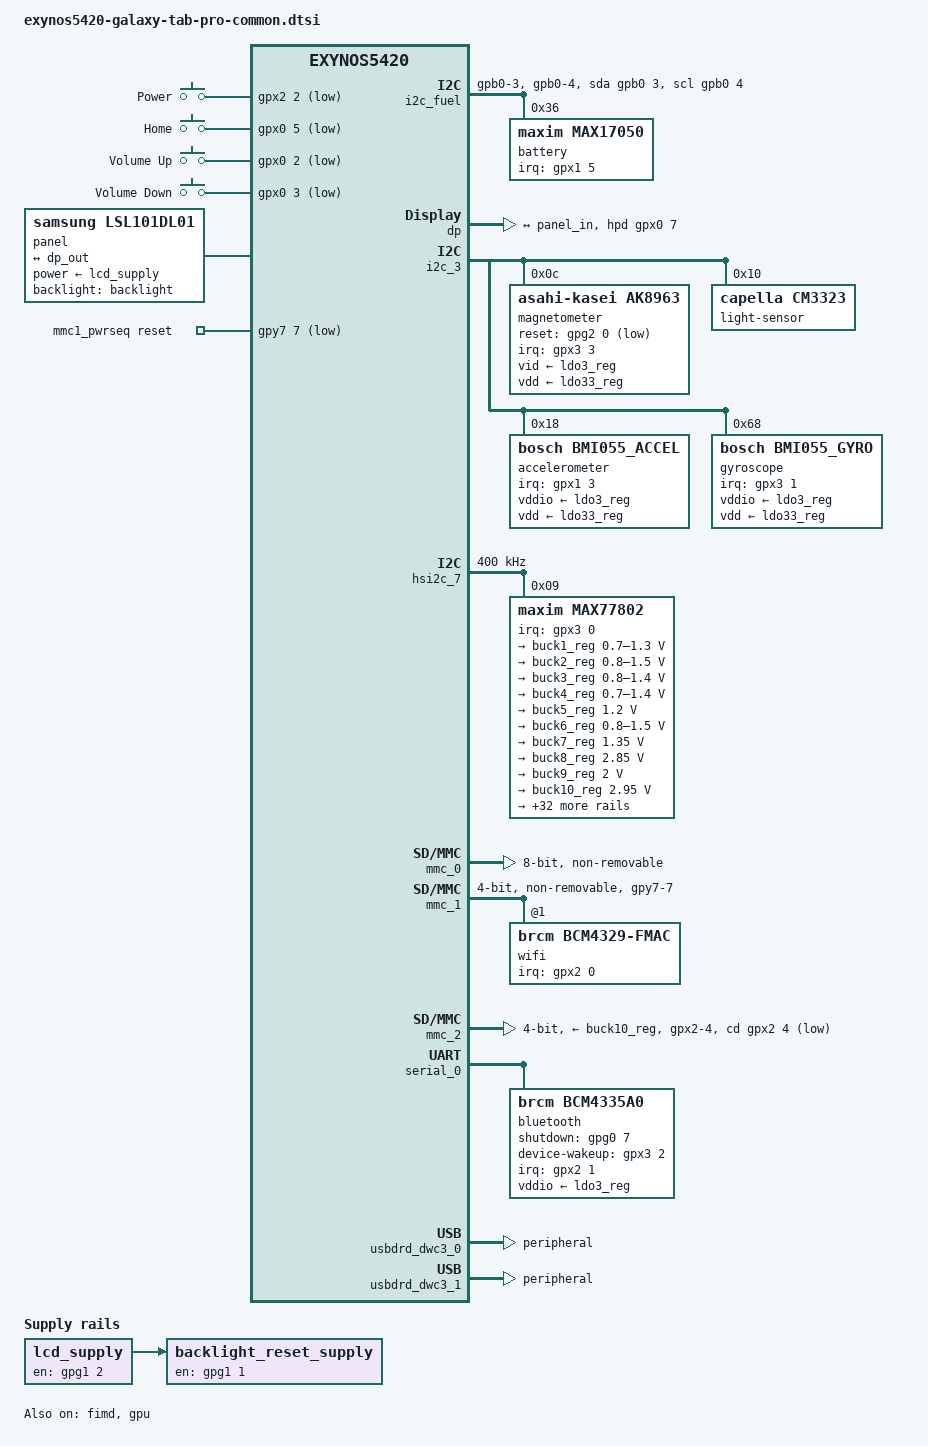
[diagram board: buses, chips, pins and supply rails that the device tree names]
// SPDX-License-Identifier: GPL-2.0
/*
 * Base DT for Samsung's family of Pro tablets based on Exynos5420.
 *
 * Copyright (c) 2012-2013 Samsung Electronics Co., Ltd.
 *		http://www.samsung.com
 * Copyright (c) 2022 Henrik Grimler
 * Copyright (c) 2025 Hendrik Noack
 */

/dts-v1/;
#include "exynos5420.dtsi"
#include "exynos5420-cpus.dtsi"
#include <dt-bindings/clock/maxim,max77802.h>
#include <dt-bindings/regulator/maxim,max77802.h>
#include <dt-bindings/gpio/gpio.h>
#include <dt-bindings/input/input.h>

/ {
	chassis-type = "tablet";

	aliases {
		mmc0 = &mmc_0;	/* Internal storage */
		mmc1 = &mmc_1;	/* WiFi */
		mmc2 = &mmc_2;	/* External sdcard */
	};

	chosen {
		stdout-path = "serial2:115200n8";
	};

	firmware@2073000 {
		compatible = "samsung,secure-firmware";
		reg = <0x02073000 0x1000>;
	};

	fixed-rate-clocks {
		oscclk {
			compatible = "samsung,exynos5420-oscclk";
			clock-frequency = <24000000>;
		};
	};

	gpio-keys {
		compatible = "gpio-keys";

		key-power {
			debounce-interval = <10>;
			gpios = <&gpx2 2 GPIO_ACTIVE_LOW>;
			label = "Power";
			linux,code = <KEY_POWER>;
			wakeup-source;
		};

		key-home {
			debounce-interval = <10>;
			gpios = <&gpx0 5 GPIO_ACTIVE_LOW>;
			label = "Home";
			linux,code = <KEY_LEFTMETA>;
			wakeup-source;
		};

		key-volume-up {
			debounce-interval = <10>;
			gpios = <&gpx0 2 GPIO_ACTIVE_LOW>;
			label = "Volume Up";
			linux,code = <KEY_VOLUMEUP>;
		};

		key-volume-down {
			debounce-interval = <10>;
			gpios = <&gpx0 3 GPIO_ACTIVE_LOW>;
			label = "Volume Down";
			linux,code = <KEY_VOLUMEDOWN>;
		};
	};

	panel: panel {
		compatible = "samsung,lsl101dl01";

		backlight = <&backlight>;
		power-supply = <&lcd_supply>;

		port {
			panel_in: endpoint {
				remote-endpoint = <&dp_out>;
			};
		};
	};

	mmc1_pwrseq: pwrseq {
		compatible = "mmc-pwrseq-simple";
		reset-gpios = <&gpy7 7 GPIO_ACTIVE_LOW>;
		clocks = <&max77802 MAX77802_CLK_32K_CP>;
		clock-names = "ext_clock";
	};

	i2c_fuel: i2c-18 {
		compatible = "i2c-gpio";
		pinctrl-names = "default";
		pinctrl-0 = <&i2c18_gpio_bus>;
		sda-gpios = <&gpb0 3 (GPIO_ACTIVE_HIGH | GPIO_OPEN_DRAIN)>;
		scl-gpios = <&gpb0 4 (GPIO_ACTIVE_HIGH | GPIO_OPEN_DRAIN)>;
		i2c-gpio,delay-us = <2>;

		#address-cells = <1>;
		#size-cells = <0>;

		battery@36 {
			compatible = "maxim,max17050";
			reg = <0x36>;
			pinctrl-0 = <&fuel_alert_irq>;
			pinctrl-names = "default";
			interrupt-parent = <&gpx1>;
			interrupts = <5 IRQ_TYPE_EDGE_BOTH>;
			maxim,rsns-microohm = <10000>;
			maxim,over-heat-temp = <600>;
			maxim,over-volt = <4300>;
		};
	};

	backlight_reset_supply: backlight-reset-supply {
		compatible = "regulator-fixed";
		regulator-name = "BACKLIGHT_RESET_SUPPLY";
		pinctrl-names = "default";
		pinctrl-0 = <&backlight_reset>;
		gpio = <&gpg1 1 GPIO_ACTIVE_HIGH>;
		enable-active-high;
		vin-supply = <&lcd_supply>;	/* Pulls i2c pins down if not enabled */
		startup-delay-us = <10000>;
	};

	lcd_supply: lcd-supply {
		compatible = "regulator-fixed";
		regulator-name = "LCD_SUPPLY";
		pinctrl-names = "default";
		pinctrl-0 = <&lcd_en>;
		gpio = <&gpg1 2 GPIO_ACTIVE_HIGH>;
		enable-active-high;
		startup-delay-us = <20000>;
		off-on-delay-us = <500000>;
	};
};

&cci {
	/* CCI is disabled in hardware */
	status = "disabled";
};

&cluster_a15_opp_table {
	opp-1800000000 {
		opp-hz = /bits/ 64 <1800000000>;
		opp-microvolt = <1225000 1225000 1500000>;
		clock-latency-ns = <140000>;
	};
	opp-1700000000 {
		opp-hz = /bits/ 64 <1700000000>;
		opp-microvolt = <1187500 1187500 1500000>;
		clock-latency-ns = <140000>;
	};
	opp-1600000000 {
		opp-hz = /bits/ 64 <1600000000>;
		opp-microvolt = <1150000 1150000 1500000>;
		clock-latency-ns = <140000>;
	};
	opp-1500000000 {
		opp-hz = /bits/ 64 <1500000000>;
		opp-microvolt = <1112500 1112500 1500000>;
		clock-latency-ns = <140000>;
	};
	opp-1400000000 {
		opp-hz = /bits/ 64 <1400000000>;
		opp-microvolt = <1087500 1087500 1500000>;
		clock-latency-ns = <140000>;
	};
	opp-600000000 {
		opp-hz = /bits/ 64 <600000000>;
		opp-microvolt = <900000 900000 1500000>;
		clock-latency-ns = <140000>;
	};
	opp-500000000 {
		opp-hz = /bits/ 64 <500000000>;
		opp-microvolt = <900000 900000 1500000>;
		clock-latency-ns = <140000>;
	};
	opp-400000000 {
		opp-hz = /bits/ 64 <400000000>;
		opp-microvolt = <900000 900000 1500000>;
		clock-latency-ns = <140000>;
	};
	opp-300000000 {
		opp-hz = /bits/ 64 <300000000>;
		opp-microvolt = <900000 900000 1500000>;
		clock-latency-ns = <140000>;
	};
	opp-200000000 {
		opp-hz = /bits/ 64 <200000000>;
		opp-microvolt = <900000 900000 1500000>;
		clock-latency-ns = <140000>;
	};
};

&cpu0 {
	cpu-supply = <&buck2_reg>;
};

&cpu4 {
	cpu-supply = <&buck6_reg>;
};

&cpu0_thermal {
	trips {
		cpu0_alert0: cpu-alert-0 {
			temperature = <75000>; /* millicelsius */
			hysteresis = <5000>; /* millicelsius */
			type = "passive";
		};
		cpu0_alert1: cpu-alert-1 {
			temperature = <90000>; /* millicelsius */
			hysteresis = <10000>; /* millicelsius */
			type = "passive";
		};
		cpu0_alert2: cpu-alert-2 {
			temperature = <100000>; /* millicelsius */
			hysteresis = <10000>; /* millicelsius */
			type = "passive";
		};
		cpu0_crit0: cpu-crit-0 {
			temperature = <115000>; /* millicelsius */
			hysteresis = <0>; /* millicelsius */
			type = "critical";
		};
	};

	cooling-maps {
		/*
		 * Reduce the CPU speed by 1 steps, down to 1700 MHz.
		 */
		map0 {
			trip = <&cpu0_alert0>;
			cooling-device = <&cpu0 0 1>,
					 <&cpu1 0 1>,
					 <&cpu2 0 1>,
					 <&cpu3 0 1>;
		};

		/*
		 * Reduce the CPU speed down to 1200 MHz big (6 steps).
		 */
		map1 {
			trip = <&cpu0_alert1>;
			cooling-device = <&cpu0 1 6>,
					 <&cpu1 1 6>,
					 <&cpu2 1 6>,
					 <&cpu3 1 6>;
		};

		/*
		 * Reduce the CPU speed as much as possible, down to 200 MHz
		 * (16 steps).
		 */
		map2 {
			trip = <&cpu0_alert2>;
			cooling-device = <&cpu0 16 16>,
					 <&cpu1 16 16>,
					 <&cpu2 16 16>,
					 <&cpu3 16 16>;
		};
	};
};

&cpu1_thermal {
	trips {
		cpu1_alert0: cpu-alert-0 {
			temperature = <75000>; /* millicelsius */
			hysteresis = <5000>; /* millicelsius */
			type = "passive";
		};
		cpu1_alert1: cpu-alert-1 {
			temperature = <90000>; /* millicelsius */
			hysteresis = <10000>; /* millicelsius */
			type = "passive";
		};
		cpu1_alert2: cpu-alert-2 {
			temperature = <100000>; /* millicelsius */
			hysteresis = <10000>; /* millicelsius */
			type = "passive";
		};
		cpu1_crit0: cpu-crit-0 {
			temperature = <115000>; /* millicelsius */
			hysteresis = <0>; /* millicelsius */
			type = "critical";
		};
	};

	cooling-maps {
		map0 {
			trip = <&cpu1_alert0>;
			cooling-device = <&cpu0 0 1>,
					 <&cpu1 0 1>,
					 <&cpu2 0 1>,
					 <&cpu3 0 1>;
		};

		map1 {
			trip = <&cpu1_alert1>;
			cooling-device = <&cpu0 1 6>,
					 <&cpu1 1 6>,
					 <&cpu2 1 6>,
					 <&cpu3 1 6>;
		};

		map2 {
			trip = <&cpu1_alert2>;
			cooling-device = <&cpu0 16 16>,
					 <&cpu1 16 16>,
					 <&cpu2 16 16>,
					 <&cpu3 16 16>;
		};
	};
};

&cpu2_thermal {
	trips {
		cpu2_alert0: cpu-alert-0 {
			temperature = <75000>; /* millicelsius */
			hysteresis = <5000>; /* millicelsius */
			type = "passive";
		};
		cpu2_alert1: cpu-alert-1 {
			temperature = <90000>; /* millicelsius */
			hysteresis = <10000>; /* millicelsius */
			type = "passive";
		};
		cpu2_alert2: cpu-alert-2 {
			temperature = <100000>; /* millicelsius */
			hysteresis = <10000>; /* millicelsius */
			type = "passive";
		};
		cpu2_crit0: cpu-crit-0 {
			temperature = <115000>; /* millicelsius */
			hysteresis = <0>; /* millicelsius */
			type = "critical";
		};
	};

	cooling-maps {
		map0 {
			trip = <&cpu2_alert0>;
			cooling-device = <&cpu0 0 1>,
					 <&cpu1 0 1>,
					 <&cpu2 0 1>,
					 <&cpu3 0 1>;
		};

		map1 {
			trip = <&cpu2_alert1>;
			cooling-device = <&cpu0 1 6>,
					 <&cpu1 1 6>,
					 <&cpu2 1 6>,
					 <&cpu3 1 6>;
		};

		map2 {
			trip = <&cpu2_alert2>;
			cooling-device = <&cpu0 16 16>,
					 <&cpu1 16 16>,
					 <&cpu2 16 16>,
					 <&cpu3 16 16>;
		};
	};
};

&cpu3_thermal {
	trips {
		cpu3_alert0: cpu-alert-0 {
			temperature = <75000>; /* millicelsius */
			hysteresis = <5000>; /* millicelsius */
			type = "passive";
		};
		cpu3_alert1: cpu-alert-1 {
			temperature = <90000>; /* millicelsius */
			hysteresis = <10000>; /* millicelsius */
			type = "passive";
		};
		cpu3_alert2: cpu-alert-2 {
			temperature = <100000>; /* millicelsius */
			hysteresis = <10000>; /* millicelsius */
			type = "passive";
		};
		cpu3_crit0: cpu-crit-0 {
			temperature = <115000>; /* millicelsius */
			hysteresis = <0>; /* millicelsius */
			type = "critical";
		};
	};

	cooling-maps {
		map0 {
			trip = <&cpu3_alert0>;
			cooling-device = <&cpu0 0 1>,
					 <&cpu1 0 1>,
					 <&cpu2 0 1>,
					 <&cpu3 0 1>;
		};

		map1 {
			trip = <&cpu3_alert1>;
			cooling-device = <&cpu0 1 6>,
					 <&cpu1 1 6>,
					 <&cpu2 1 6>,
					 <&cpu3 1 6>;
		};

		map2 {
			trip = <&cpu3_alert2>;
			cooling-device = <&cpu0 16 16>,
					 <&cpu1 16 16>,
					 <&cpu2 16 16>,
					 <&cpu3 16 16>;
		};
	};
};

&dp {
	status = "okay";
	samsung,link-rate = <0x0a>;
	samsung,lane-count = <4>;
	pinctrl-names = "default";
	pinctrl-0 = <&dp_hpd>;
	hpd-gpios = <&gpx0 7 GPIO_ACTIVE_HIGH>;

	ports {
		port {
			dp_out: endpoint {
				remote-endpoint = <&panel_in>;
			};
		};
	};
};

&fimd {
	status = "okay";
};

&gpu {
	status = "okay";
	mali-supply = <&buck4_reg>;
};

&gpu_opp_table {
	/delete-node/opp-543000000;
	opp-600000000 {
		opp-hz = /bits/ 64 <600000000>;
		opp-microvolt = <1150000>;
	};
	opp-533000000 {
		opp-hz = /bits/ 64 <533000000>;
		opp-microvolt = <1025000>;
	};
	opp-480000000 {
		opp-hz = /bits/ 64 <480000000>;
		opp-microvolt = <987500>;
	};
	opp-420000000 {
		opp-hz = /bits/ 64 <420000000>;
		opp-microvolt = <950000>;
	};
	opp-350000000 {
		opp-hz = /bits/ 64 <350000000>;
		opp-microvolt = <900000>;
	};
	opp-266000000 {
		opp-hz = /bits/ 64 <266000000>;
		opp-microvolt = <850000>;
	};
	opp-177000000 {
		opp-hz = /bits/ 64 <177000000>;
		opp-microvolt = <812500>;
	};
	opp-100000000 {
		opp-hz = /bits/ 64 <100000000>;
		opp-microvolt = <812500>;
	};
};

&gpu_thermal {
	/delete-node/trips;
	trips {
		gpu_alert0: gpu-alert-0 {
			temperature = <85000>; /* millicelsius */
			hysteresis = <5000>; /* millicelsius */
			type = "passive";
		};
		gpu_alert1: gpu-alert-1 {
			temperature = <90000>; /* millicelsius */
			hysteresis = <10000>; /* millicelsius */
			type = "passive";
		};
		gpu_alert2: gpu-alert-2 {
			temperature = <100000>; /* millicelsius */
			hysteresis = <10000>; /* millicelsius */
			type = "passive";
		};
		gpu_crit0: gpu-crit-0 {
			temperature = <105000>; /* millicelsius */
			hysteresis = <0>; /* millicelsius */
			type = "critical";
		};
	};

	cooling-maps {
		/*
		 * Reduce the CPU speed by 1 steps, down to 533 MHz.
		 */
		map0 {
			trip = <&gpu_alert0>;
			cooling-device = <&gpu 0 1>;
		};

		/*
		 * Reduce the CPU speed by 3 steps, down to 420 MHz.
		 */
		map1 {
			trip = <&gpu_alert1>;
			cooling-device = <&gpu 1 3>;
		};

		/*
		 * Reduce the CPU speed by 7 steps, down to 100 MHz.
		 */
		map2 {
			trip = <&gpu_alert2>;
			cooling-device = <&gpu 7 7>;
		};
	};
};

&i2c_3 {
	status = "okay";

	#address-cells = <1>;
	#size-cells = <0>;

	magnetometer@c {
		compatible = "asahi-kasei,ak8963";
		reg = <0x0c>;
		vid-supply = <&ldo3_reg>;
		vdd-supply = <&ldo33_reg>;
		pinctrl-names = "default";
		pinctrl-0 = <&magnetometer_irq &magnetometer_reset_n>;
		interrupt-parent = <&gpx3>;
		interrupts = <3 IRQ_TYPE_EDGE_RISING>;
		reset-gpios = <&gpg2 0 GPIO_ACTIVE_LOW>;
		mount-matrix =  "1", "0", "0",
				"0", "-1", "0",
				"0", "0", "-1";
	};

	light-sensor@10 {
		compatible = "capella,cm3323";
		reg = <0x10>;
	};

	accelerometer@18 {
		compatible = "bosch,bmi055_accel";
		reg = <0x18>;
		vddio-supply = <&ldo3_reg>;
		vdd-supply = <&ldo33_reg>;
		pinctrl-names = "default";
		pinctrl-0 = <&accelerometer_irq1 &accelerometer_irq2>;
		interrupt-parent = <&gpx1>;
		interrupts = <3 IRQ_TYPE_EDGE_RISING>, <7 IRQ_TYPE_EDGE_RISING>;
		interrupt-names = "INT1", "INT2";
		mount-matrix = "0", "-1", "0",
				"-1", "0", "0",
				"0", "0", "1";
	};

	gyroscope@68 {
		compatible = "bosch,bmi055_gyro";
		reg = <0x68>;
		vddio-supply = <&ldo3_reg>;
		vdd-supply = <&ldo33_reg>;
		pinctrl-names = "default";
		pinctrl-0 = <&gyroscope_irq &gyroscope_drdy>;
		interrupt-parent = <&gpx3>;
		interrupts = <1 IRQ_TYPE_EDGE_RISING>, <4 IRQ_TYPE_EDGE_RISING>;
		mount-matrix = "0", "-1", "0",
				"-1", "0", "0",
				"0", "0", "1";
	};
};

&hsi2c_7 {
	status = "okay";
	clock-frequency = <400000>;

	#address-cells = <1>;
	#size-cells = <0>;

	max77802: pmic@9 {
		compatible = "maxim,max77802";
		interrupt-parent = <&gpx3>;
		interrupts = <0 IRQ_TYPE_NONE>;
		pinctrl-names = "default";
		pinctrl-0 = <&max77802_irq>;
		wakeup-source;
		reg = <0x9>;
		#clock-cells = <1>;

		regulators {
			buck1_reg: BUCK1 {
				regulator-name = "vdd_mif";
				regulator-min-microvolt = <700000>;
				regulator-max-microvolt = <1300000>;
				regulator-always-on;
				regulator-boot-on;

				regulator-state-mem {
					regulator-off-in-suspend;
				};
			};

			buck2_reg: BUCK2 {
				regulator-name = "vdd_arm";
				regulator-min-microvolt = <800000>;
				regulator-max-microvolt = <1500000>;
				regulator-always-on;
				regulator-boot-on;

				regulator-state-mem {
					regulator-off-in-suspend;
				};
			};

			buck3_reg: BUCK3 {
				regulator-name = "vdd_int";
				regulator-min-microvolt = <800000>;
				regulator-max-microvolt = <1400000>;
				regulator-always-on;
				regulator-boot-on;

				regulator-state-mem {
					regulator-off-in-suspend;
				};
			};

			buck4_reg: BUCK4 {
				regulator-name = "vdd_g3d";
				regulator-min-microvolt = <700000>;
				regulator-max-microvolt = <1400000>;
				regulator-always-on;
				regulator-boot-on;

				regulator-state-mem {
					regulator-off-in-suspend;
				};
			};

			buck5_reg: BUCK5 {
				/* No info doesn't go past populating /dev without it, something with 1.2V */
				regulator-name = "vdd_buck5";
				regulator-min-microvolt = <1200000>;
				regulator-max-microvolt = <1200000>;
				regulator-always-on;
				regulator-boot-on;
			};

			buck6_reg: BUCK6 {
				regulator-name = "vdd_kfc";
				regulator-min-microvolt = <800000>;
				regulator-max-microvolt = <1500000>;
				regulator-always-on;
				regulator-boot-on;

				regulator-state-mem {
					regulator-off-in-suspend;
				};
			};

			buck7_reg: BUCK7 {
				/* No info doesn't go past populating /dev without it, something with 1.35V */
				regulator-name = "vdd_buck7";
				regulator-min-microvolt = <1350000>;
				regulator-max-microvolt = <1350000>;
				regulator-always-on;
				regulator-boot-on;
			};

			buck8_reg: BUCK8 {
				/* Not defined, something with 2.85V */
				regulator-name = "vdd_buck8";
				regulator-min-microvolt = <2850000>;
				regulator-max-microvolt = <2850000>;
			};

			buck9_reg: BUCK9 {
				/* No info doesn't go past populating /dev without it, something with 2V */
				regulator-name = "vdd_buck9";
				regulator-min-microvolt = <2000000>;
				regulator-max-microvolt = <2000000>;
				regulator-always-on;
				regulator-boot-on;
			};

			buck10_reg: BUCK10 {
				/* Something to do with sdcard and sensors on i2c_3, 2.95V */
				regulator-name = "vdd_buck10";
				regulator-min-microvolt = <2950000>;
				regulator-max-microvolt = <2950000>;
				regulator-always-on;
			};

			ldo1_reg: LDO1 {
				regulator-name = "vdd_alive_1v0";
				regulator-min-microvolt = <1000000>;
				regulator-max-microvolt = <1000000>;
				regulator-always-on;
			};

			ldo2_reg: LDO2 {
				regulator-name = "vmem2_1v2_ap";
				regulator-min-microvolt = <1200000>;
				regulator-max-microvolt = <1200000>;
				regulator-always-on;
			};

			ldo3_reg: LDO3 {
				regulator-name = "vcc_1v8_ap";
				regulator-min-microvolt = <1800000>;
				regulator-max-microvolt = <1800000>;
				regulator-always-on;
			};

			ldo4_reg: LDO4 {
				regulator-name = "vmmc2_2v8_ap";
				regulator-min-microvolt = <1800000>;
				regulator-max-microvolt = <2900000>;
			};

			ldo5_reg: LDO5 {
				regulator-name = "vhsic_1v8_ap";
				regulator-min-microvolt = <1800000>;
				regulator-max-microvolt = <1800000>;
				regulator-always-on;
			};

			ldo6_reg: LDO6 {
				regulator-name = "vxpll_1v8_ap";
				regulator-min-microvolt = <1800000>;
				regulator-max-microvolt = <1800000>;
				regulator-always-on;
			};

			ldo7_reg: LDO7 {
				/* Not defined, something with 1.8V */
				regulator-name = "vdd_ldo7";
				regulator-min-microvolt = <1800000>;
				regulator-max-microvolt = <1800000>;
			};

			ldo8_reg: LDO8 {
				regulator-name = "vmipi_1v0_ap";
				regulator-min-microvolt = <1000000>;
				regulator-max-microvolt = <1000000>;
				regulator-always-on;
			};

			ldo9_reg: LDO9 {
				regulator-name = "vadc_1v8";
				regulator-min-microvolt = <1800000>;
				regulator-max-microvolt = <1800000>;
				regulator-always-on;
			};

			ldo10_reg: LDO10 {
				regulator-name = "vmipi_1v8_ap";
				regulator-min-microvolt = <1800000>;
				regulator-max-microvolt = <1800000>;
				regulator-always-on;
			};

			ldo11_reg: LDO11 {
				regulator-name = "vddq_pre_1v8";
				regulator-min-microvolt = <1800000>;
				regulator-max-microvolt = <1800000>;
				regulator-always-on;
			};

			ldo12_reg: LDO12 {
				regulator-name = "vuotg_3v0_ap";
				regulator-min-microvolt = <3000000>;
				regulator-max-microvolt = <3000000>;
				regulator-always-on;
			};

			ldo13_reg: LDO13 {
				/* No info doesn't boot without it, something with 1.8V */
				regulator-name = "vdd_ldo13";
				regulator-min-microvolt = <1800000>;
				regulator-max-microvolt = <1800000>;
				regulator-always-on;
			};

			ldo14_reg: LDO14 {
				regulator-name = "vabb1_1v8_ap";
				regulator-min-microvolt = <1800000>;
				regulator-max-microvolt = <1800000>;
				regulator-always-on;
			};

			ldo15_reg: LDO15 {
				regulator-name = "vhsic_1v0_ap";
				regulator-min-microvolt = <1000000>;
				regulator-max-microvolt = <1000000>;
				regulator-always-on;
			};

			ldo17_reg: LDO17 {
				regulator-name = "vg3ds_1v0_ap";
				regulator-min-microvolt = <1000000>;
				regulator-max-microvolt = <1000000>;
				regulator-always-on;
			};

			ldo18_reg: LDO18 {
				regulator-name = "cam_isp_sensor_io_1v8";
				regulator-min-microvolt = <1800000>;
				regulator-max-microvolt = <1800000>;
			};

			ldo19_reg: LDO19 {
				regulator-name = "vt_cam_1v8";
				regulator-min-microvolt = <1800000>;
				regulator-max-microvolt = <1800000>;
			};

			ldo20_reg: LDO20 {
				/* Not defined, something with 1.8V */
				regulator-name = "vdd_ldo20";
				regulator-min-microvolt = <1800000>;
				regulator-max-microvolt = <1800000>;
			};

			ldo21_reg: LDO21 {
				/* Not defined, something with 2.8V */
				regulator-name = "vdd_ldo21";
				regulator-min-microvolt = <2800000>;
				regulator-max-microvolt = <2800000>;
			};

			ldo23_reg: LDO23 {
				regulator-name = "key_led_3v3";
				regulator-min-microvolt = <2500000>;
				regulator-max-microvolt = <3300000>;
			};

			ldo24_reg: LDO24 {
				regulator-name = "vdd_ldo24";
				/*
				 * LDO24 varies between devices and is
				 * specified in the device dts
				 */
			};

			ldo25_reg: LDO25 {
				regulator-name = "vcc_3v3_mhl";
				regulator-min-microvolt = <3300000>;
				regulator-max-microvolt = <3300000>;
			};

			ldo26_reg: LDO26 {
				regulator-name = "vdd_ldo26";
				/*
				 * LDO26 varies between devices and is
				 * specified in the device dts
				 */
			};

			ldo27_reg: LDO27 {
				regulator-name = "vsil_1a2";
				regulator-min-microvolt = <1200000>;
				regulator-max-microvolt = <1200000>;
			};

			ldo28_reg: LDO28 {
				regulator-name = "vcc_1v8_mhl";
				regulator-min-microvolt = <1800000>;
				regulator-max-microvolt = <1800000>;
			};

			ldo29_reg: LDO29 {
				regulator-name = "tsp_vdd_1v8";
				regulator-min-microvolt = <1800000>;
				regulator-max-microvolt = <1800000>;
			};

			ldo30_reg: LDO30 {
				regulator-name = "vmifs_1v0_ap";
				regulator-min-microvolt = <1000000>;
				regulator-max-microvolt = <1000000>;
				regulator-always-on;
			};

			ldo32_reg: LDO32 {
				regulator-name = "irled_3v3";
				regulator-min-microvolt = <3300000>;
				regulator-max-microvolt = <3300000>;
			};

			ldo33_reg: LDO33 {
				regulator-name = "vcc_2v8_ap";
				regulator-min-microvolt = <2800000>;
				regulator-max-microvolt = <2800000>;
				regulator-always-on;
			};

			ldo34_reg: LDO34 {
				regulator-name = "vdd_ldo34";
				/*
				 * LDO34 varies between devices and is
				 * specified in the device dts
				 */
			};

			ldo35_reg: LDO35 {
				regulator-name = "vdd_ldo35";
				/*
				 * LDO35 varies between devices and is
				 * specified in the device dts
				 */
			};
		};
	};
};

/* Internal storage */
&mmc_0 {
	status = "okay";
	bus-width = <8>;
	cap-mmc-hw-reset;
	cap-mmc-highspeed;
	sd-uhs-ddr50;
	mmc-ddr-1_8v;
	mmc-hs200-1_8v;
	non-removable;
	card-detect-delay = <200>;
	pinctrl-0 = <&sd0_clk &sd0_cmd &sd0_bus1 &sd0_bus4 &sd0_bus8>;
	pinctrl-names = "default";
	samsung,dw-mshc-ciu-div = <3>;
	samsung,dw-mshc-ddr-timing = <0 2>;
	samsung,dw-mshc-sdr-timing = <0 4>;
};

/* WiFi */
&mmc_1 {
	status = "okay";
	keep-power-in-suspend;
	bus-width = <4>;
	cap-sd-highspeed;
	sd-uhs-sdr50;
	non-removable;
	card-detect-delay = <200>;
	pinctrl-0 = <&sd1_clk>, <&sd1_cmd>, <&sd1_bus1>, <&sd1_bus4>, <&wifi_en>;
	pinctrl-names = "default";
	samsung,dw-mshc-ciu-div = <1>;
	samsung,dw-mshc-ddr-timing = <0 2>;
	samsung,dw-mshc-sdr-timing = <0 1>;
	mmc-pwrseq = <&mmc1_pwrseq>;
	vqmmc-supply = <&ldo3_reg>;

	#address-cells = <1>;
	#size-cells = <0>;

	wifi: wifi@1 {
		compatible = "brcm,bcm4329-fmac";
		reg = <1>;
		interrupt-parent = <&gpx2>;
		interrupts = <0 IRQ_TYPE_EDGE_FALLING>;
		interrupt-names = "host-wake";
		pinctrl-names = "default";
		pinctrl-0 = <&wlan_irq>;
	};
};

/* External sdcard */
&mmc_2 {
	status = "okay";
	bus-width = <4>;
	cap-sd-highspeed;
	cap-mmc-highspeed;
	sd-uhs-sdr50;
	card-detect-delay = <200>;
	cd-gpios = <&gpx2 4 GPIO_ACTIVE_LOW>;
	pinctrl-0 = <&sd2_clk &sd2_cmd &mmc2_cd &sd2_bus1 &sd2_bus4>;
	pinctrl-names = "default";
	samsung,dw-mshc-ciu-div = <3>;
	samsung,dw-mshc-ddr-timing = <0 2>;
	samsung,dw-mshc-sdr-timing = <0 4>;
	vmmc-supply = <&buck10_reg>;
	vqmmc-supply = <&ldo4_reg>;
};

&serial_0 {
	uart-has-rtscts;
	pinctrl-0 = <&uart0_data &uart0_fctl>;
	pinctrl-names = "default";

	bluetooth {
		compatible = "brcm,bcm4335a0";
		pinctrl-0 = <&bt_en &bt_wake &bt_host_wakeup>;
		pinctrl-names = "default";

		shutdown-gpios = <&gpg0 7 GPIO_ACTIVE_HIGH>;
		device-wakeup-gpios = <&gpx3 2 GPIO_ACTIVE_HIGH>;

		interrupt-parent = <&gpx2>;
		interrupts = <1 IRQ_TYPE_EDGE_FALLING>;
		interrupt-names = "host-wakeup";

		clocks = <&max77802 MAX77802_CLK_32K_CP>;
		clock-names = "lpo";

		vddio-supply = <&ldo3_reg>;
	};
};

&pinctrl_0 {
	wifi_en: wifi-en-pins {
		samsung,pins = "gpy7-7";
		samsung,pin-function = <EXYNOS_PIN_FUNC_OUTPUT>;
		samsung,pin-pud = <EXYNOS_PIN_PULL_NONE>;
		samsung,pin-drv = <EXYNOS5420_PIN_DRV_LV1>;
	};

	accelerometer_irq1: accelerometer-irq1-pins {
		samsung,pins = "gpx1-3";
		samsung,pin-function = <EXYNOS_PIN_FUNC_INPUT>;
		samsung,pin-pud = <EXYNOS_PIN_PULL_DOWN>;
	};

	fuel_alert_irq: fuel-alert-irq-pins {
		samsung,pins = "gpx1-5";
		samsung,pin-function = <EXYNOS_PIN_FUNC_INPUT>;
		samsung,pin-pud = <EXYNOS_PIN_PULL_NONE>;
	};

	accelerometer_irq2: accelerometer-irq2-pins {
		samsung,pins = "gpx1-7";
		samsung,pin-function = <EXYNOS_PIN_FUNC_INPUT>;
		samsung,pin-pud = <EXYNOS_PIN_PULL_DOWN>;
	};

	wlan_irq: wlan-irq-pins {
		samsung,pins = "gpx2-0";
		samsung,pin-function = <EXYNOS_PIN_FUNC_F>;
		samsung,pin-pud = <EXYNOS_PIN_PULL_DOWN>;
	};

	bt_host_wakeup: bt-host-wakeup-pins {
		samsung,pins = "gpx2-1";
		samsung,pin-function = <EXYNOS_PIN_FUNC_INPUT>;
		samsung,pin-pud = <EXYNOS_PIN_PULL_NONE>;
	};

	mmc2_cd: mmc2-cd-pins {
		samsung,pins = "gpx2-4";
		samsung,pin-pud = <EXYNOS_PIN_PULL_NONE>;
	};

	max77802_irq: max77802-irq-pins {
		samsung,pins = "gpx3-0";
		samsung,pin-function = <EXYNOS_PIN_FUNC_F>;
		samsung,pin-pud = <EXYNOS_PIN_PULL_UP>;
		samsung,pin-drv = <EXYNOS5420_PIN_DRV_LV1>;
	};

	gyroscope_irq: gyroscope-irq-pins {
		samsung,pins = "gpx3-1";
		samsung,pin-function = <EXYNOS_PIN_FUNC_INPUT>;
		samsung,pin-pud = <EXYNOS_PIN_PULL_DOWN>;
	};

	bt_wake: bt-wake-pins {
		samsung,pins = "gpx3-2";
		samsung,pin-function = <EXYNOS_PIN_FUNC_OUTPUT>;
		samsung,pin-pud-pdn = <EXYNOS_PIN_PULL_NONE>;
		samsung,pin-drv = <EXYNOS5420_PIN_DRV_LV1>;
	};

	magnetometer_irq: magnetometer-irq-pins {
		samsung,pins = "gpx3-3";
		samsung,pin-function = <EXYNOS_PIN_FUNC_INPUT>;
		samsung,pin-pud = <EXYNOS_PIN_PULL_NONE>;
	};

	gyroscope_drdy: gyroscope-drdy-pins {
		samsung,pins = "gpx3-4";
		samsung,pin-function = <EXYNOS_PIN_FUNC_INPUT>;
		samsung,pin-pud = <EXYNOS_PIN_PULL_DOWN>;
	};
};

&pinctrl_2 {
	bt_en: bt-en-pins {
		samsung,pins = "gpg0-7";
		samsung,pin-function = <EXYNOS_PIN_FUNC_OUTPUT>;
		samsung,pin-pud = <EXYNOS_PIN_PULL_NONE>;
	};

	backlight_reset: backlight-reset-pins {
		samsung,pins = "gpg1-1";
		samsung,pin-function = <EXYNOS_PIN_FUNC_OUTPUT>;
		samsung,pin-pud = <EXYNOS_PIN_PULL_NONE>;
	};

	lcd_en: lcd-en-pins {
		samsung,pins = "gpg1-2";
		samsung,pin-function = <EXYNOS_PIN_FUNC_OUTPUT>;
		samsung,pin-pud = <EXYNOS_PIN_PULL_NONE>;
	};

	magnetometer_reset_n: magnetometer-reset-n-pins {
		samsung,pins = "gpg2-0";
		samsung,pin-function = <EXYNOS_PIN_FUNC_OUTPUT>;
		samsung,pin-pud = <EXYNOS_PIN_PULL_NONE>;
	};
};

&pinctrl_3 {
	i2c18_gpio_bus: i2c18-gpio-bus-pins {
		samsung,pins = "gpb0-3", "gpb0-4";
		samsung,pin-pud = <EXYNOS_PIN_PULL_NONE>;
		samsung,pin-drv = <EXYNOS5420_PIN_DRV_LV1>;
	};
};

&rtc {
	status = "disabled";	// s3c-rtc only works sometimes, max77802-rtc is used
	clocks = <&clock CLK_RTC>, <&max77802 MAX77802_CLK_32K_AP>;
	clock-names = "rtc", "rtc_src";
};

&tmu_cpu0 {
	vtmu-supply = <&ldo11_reg>;
};

&tmu_cpu1 {
	vtmu-supply = <&ldo11_reg>;
};

&tmu_cpu2 {
	vtmu-supply = <&ldo11_reg>;
};

&tmu_cpu3 {
	vtmu-supply = <&ldo11_reg>;
};

&tmu_gpu {
	vtmu-supply = <&ldo11_reg>;
};

&usbdrd_dwc3_0 {
	dr_mode = "peripheral";
};

&usbdrd_dwc3_1 {
	dr_mode = "peripheral";
};

&usbdrd3_0 {
	vdd33-supply = <&ldo12_reg>;
	vdd10-supply = <&ldo15_reg>;
};

&usbdrd3_1 {
	vdd33-supply = <&ldo12_reg>;
	vdd10-supply = <&ldo15_reg>;
};
